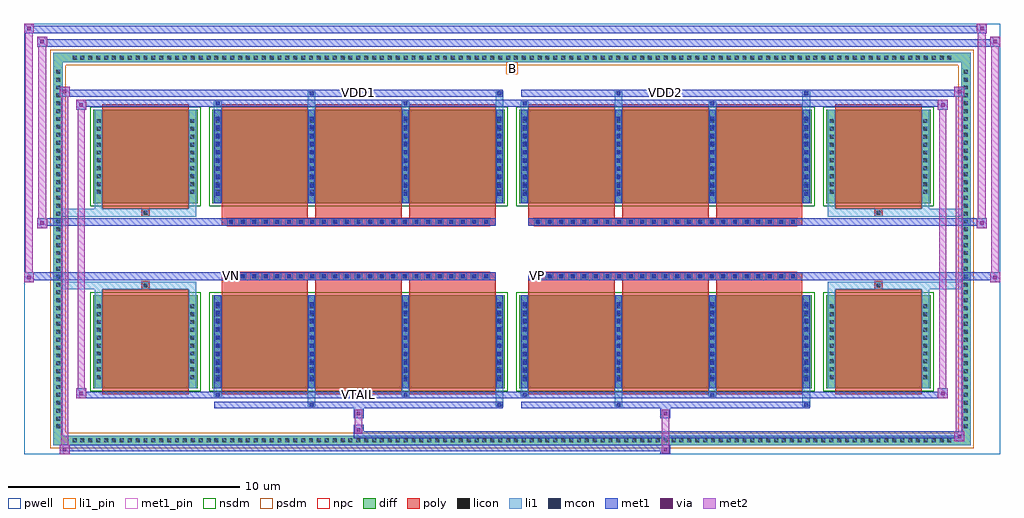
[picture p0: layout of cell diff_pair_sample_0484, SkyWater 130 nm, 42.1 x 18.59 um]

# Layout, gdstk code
import gdstk
lib = gdstk.Library(unit=1e-6, precision=5e-09)
def R(c, l, rs):  # rectangles x0, y0, x1, y1
    for r in rs: c.add(gdstk.rectangle(r[:2], r[2:], *l))
def A(c, l, x, y, w, h, nx, ny, dx, dy):  # array of equal rectangles
    R(c, l, [(x+i*dx, y+j*dy, x+i*dx+w, y+j*dy+h) for i in range(nx) for j in range(ny)])
def P(c, l, *ps):  # polygons
    for p in ps: c.add(gdstk.Polygon(p, *l))
pwell = (64, 44)
diff = (65, 20)
poly = (66, 20)
licon = (66, 44)
li1_pin = (67, 16)
li1 = (67, 20)
mcon = (67, 44)
met1_pin = (68, 16)
met1 = (68, 20)
via = (68, 44)
met2 = (69, 20)
nsdm = (93, 44)
psdm = (94, 20)
npc = (95, 20)

diff_pair_sample_0484 = lib.new_cell('diff_pair_sample_0484')
R(diff_pair_sample_0484, pwell, [(-21.05,-8.86,21.05,9.73), (-18.37,-7.05,-0.01,-0.805), (0.01,-7.05,18.37,-0.805), (-18.37,0.805,-0.01,7.05), (0.01,0.805,18.37,7.05)])
A(diff_pair_sample_0484, diff, -19.075, -8.46, 0.41, 0.41, 112, 2, 0.34, 16.51)
A(diff_pair_sample_0484, diff, -19.78, -7.855, 0.41, 0.41, 1, 46, 0, 0.34)
A(diff_pair_sample_0484, diff, 19.37, -7.855, 0.41, 0.41, 1, 46, 0, 0.34)
R(diff_pair_sample_0484, diff, [(-19.075,-8.46,19.075,-8.05), (-19.78,-7.855,-19.37,7.855), (19.37,-7.855,19.78,7.855), (-18.06,-6.005,-13.56,-1.985), (-12.92,-6.005,-0.32,-1.985), (0.32,-6.005,12.92,-1.985), (13.56,-6.005,18.06,-1.985), (-18.06,1.985,-13.56,6.005), (-12.92,1.985,-0.32,6.005), (0.32,1.985,12.92,6.005), (13.56,1.985,18.06,6.005), (-19.075,8.05,19.075,8.46)])
P(diff_pair_sample_0484, diff, [(19.78,8.46),(-19.78,8.46),(-19.78,-8.05),(-19.37,-8.05),(-19.37,8.05),(19.37,8.05),(19.37,-8.05),(-19.37,-8.05),(-19.78,-8.05),(-19.78,-8.46),(19.78,-8.46)])
A(diff_pair_sample_0484, poly, -12.53, -6.255, 3.72, 4.52, 3, 2, 4.05, 7.99)
A(diff_pair_sample_0484, poly, 0.71, -6.255, 3.72, 4.52, 3, 2, 4.05, 7.99)
A(diff_pair_sample_0484, poly, -12.53, -1.735, 3.72, 0.4, 3, 2, 4.05, 3.07)
A(diff_pair_sample_0484, poly, 0.71, -1.735, 3.72, 0.4, 3, 2, 4.05, 3.07)
A(diff_pair_sample_0484, poly, -12.285, -1.335, 0.33, 0.33, 23, 2, 0.5, 2.34)
A(diff_pair_sample_0484, poly, 0.955, -1.335, 0.33, 0.33, 23, 2, 0.5, 2.34)
R(diff_pair_sample_0484, poly, [(-17.67,-6.255,-13.95,-1.735), (13.95,-6.255,17.67,-1.735), (-15.975,-1.735,-15.645,-1.405), (-15.975,-1.735,-15.645,-1.405), (15.645,-1.735,15.975,-1.405), (15.645,-1.735,15.975,-1.405), (-12.53,-1.335,-0.71,-1.005), (0.71,-1.335,12.53,-1.005), (-12.53,1.005,-0.71,1.335), (0.71,1.005,12.53,1.335), (-15.975,1.405,-15.645,1.735), (-15.975,1.405,-15.645,1.735), (15.645,1.405,15.975,1.735), (15.645,1.405,15.975,1.735), (-17.67,1.735,-13.95,6.255), (13.95,1.735,17.67,6.255)])
A(diff_pair_sample_0484, licon, -18.955, -8.34, 0.17, 0.17, 112, 2, 0.34, 16.51)
A(diff_pair_sample_0484, licon, -19.66, -7.735, 0.17, 0.17, 1, 46, 0, 0.34)
A(diff_pair_sample_0484, licon, 19.49, -7.735, 0.17, 0.17, 1, 46, 0, 0.34)
A(diff_pair_sample_0484, licon, -17.92, -5.61, 0.17, 0.17, 1, 10, 0, 0.34)
A(diff_pair_sample_0484, licon, -13.87, -5.61, 0.17, 0.17, 1, 10, 0, 0.34)
A(diff_pair_sample_0484, licon, -12.78, -5.61, 0.17, 0.17, 4, 10, 4.05, 0.34)
A(diff_pair_sample_0484, licon, 0.46, -5.61, 0.17, 0.17, 4, 10, 4.05, 0.34)
A(diff_pair_sample_0484, licon, 13.7, -5.61, 0.17, 0.17, 1, 10, 0, 0.34)
A(diff_pair_sample_0484, licon, 17.75, -5.61, 0.17, 0.17, 1, 10, 0, 0.34)
A(diff_pair_sample_0484, licon, -12.205, -1.255, 0.17, 0.17, 23, 2, 0.5, 2.34)
A(diff_pair_sample_0484, licon, 1.035, -1.255, 0.17, 0.17, 23, 2, 0.5, 2.34)
A(diff_pair_sample_0484, licon, -17.92, 2.38, 0.17, 0.17, 1, 10, 0, 0.34)
A(diff_pair_sample_0484, licon, -13.87, 2.38, 0.17, 0.17, 1, 10, 0, 0.34)
A(diff_pair_sample_0484, licon, -12.78, 2.38, 0.17, 0.17, 4, 10, 4.05, 0.34)
A(diff_pair_sample_0484, licon, 0.46, 2.38, 0.17, 0.17, 4, 10, 4.05, 0.34)
A(diff_pair_sample_0484, licon, 13.7, 2.38, 0.17, 0.17, 1, 10, 0, 0.34)
A(diff_pair_sample_0484, licon, 17.75, 2.38, 0.17, 0.17, 1, 10, 0, 0.34)
R(diff_pair_sample_0484, licon, [(-15.895,-1.655,-15.725,-1.485), (15.725,-1.655,15.895,-1.485), (-15.895,1.485,-15.725,1.655), (15.725,1.485,15.895,1.655)])
R(diff_pair_sample_0484, li1_pin, [(-0.25,7.55,0.25,8.05)])
A(diff_pair_sample_0484, li1, -19.035, -8.42, 0.33, 0.33, 112, 2, 0.34, 16.51)
A(diff_pair_sample_0484, li1, -19.74, -7.815, 0.33, 0.33, 1, 46, 0, 0.34)
A(diff_pair_sample_0484, li1, 19.41, -7.815, 0.33, 0.33, 1, 46, 0, 0.34)
A(diff_pair_sample_0484, li1, -12.86, -6.005, 0.33, 4.02, 4, 2, 4.05, 7.99)
A(diff_pair_sample_0484, li1, 0.38, -6.005, 0.33, 4.02, 4, 2, 4.05, 7.99)
A(diff_pair_sample_0484, li1, -12.78, -5.7, 0.17, 0.17, 4, 10, 4.05, 0.36)
A(diff_pair_sample_0484, li1, -12.78, -5.7, 0.17, 3.41, 4, 2, 4.05, 7.99)
A(diff_pair_sample_0484, li1, 0.46, -5.7, 0.17, 0.17, 4, 10, 4.05, 0.36)
A(diff_pair_sample_0484, li1, 0.46, -5.7, 0.17, 3.41, 4, 2, 4.05, 7.99)
A(diff_pair_sample_0484, li1, -18, -5.69, 0.33, 0.33, 1, 10, 0, 0.34)
A(diff_pair_sample_0484, li1, -13.95, -5.69, 0.33, 0.33, 1, 10, 0, 0.34)
A(diff_pair_sample_0484, li1, -12.86, -5.69, 0.33, 0.33, 4, 10, 4.05, 0.34)
A(diff_pair_sample_0484, li1, 0.38, -5.69, 0.33, 0.33, 4, 10, 4.05, 0.34)
A(diff_pair_sample_0484, li1, 13.62, -5.69, 0.33, 0.33, 1, 10, 0, 0.34)
A(diff_pair_sample_0484, li1, 17.67, -5.69, 0.33, 0.33, 1, 10, 0, 0.34)
A(diff_pair_sample_0484, li1, -12.285, -1.335, 0.33, 0.33, 23, 2, 0.5, 2.34)
A(diff_pair_sample_0484, li1, 0.955, -1.335, 0.33, 0.33, 23, 2, 0.5, 2.34)
A(diff_pair_sample_0484, li1, -12.78, 2.29, 0.17, 0.17, 4, 10, 4.05, 0.36)
A(diff_pair_sample_0484, li1, 0.46, 2.29, 0.17, 0.17, 4, 10, 4.05, 0.36)
A(diff_pair_sample_0484, li1, -18, 2.3, 0.33, 0.33, 1, 10, 0, 0.34)
A(diff_pair_sample_0484, li1, -13.95, 2.3, 0.33, 0.33, 1, 10, 0, 0.34)
A(diff_pair_sample_0484, li1, -12.86, 2.3, 0.33, 0.33, 4, 10, 4.05, 0.34)
A(diff_pair_sample_0484, li1, 0.38, 2.3, 0.33, 0.33, 4, 10, 4.05, 0.34)
A(diff_pair_sample_0484, li1, 13.62, 2.3, 0.33, 0.33, 1, 10, 0, 0.34)
A(diff_pair_sample_0484, li1, 17.67, 2.3, 0.33, 0.33, 1, 10, 0, 0.34)
R(diff_pair_sample_0484, li1, [(-19.78,-8.46,-19.37,-8.05), (-19.78,-8.46,-19.37,-8.05), (-19.37,-8.46,19.37,-8.05), (19.37,-8.46,19.78,-8.05), (19.37,-8.46,19.78,-8.05), (-19.78,-8.05,-19.37,8.05), (19.37,-8.05,19.78,8.05), (-8.81,-6.81,-8.48,-6.005), (-8.73,-6.81,-8.56,-6.64), (-0.71,-6.81,-0.38,-6.005), (-0.63,-6.81,-0.46,-6.64), (4.43,-6.81,4.76,-6.005), (4.51,-6.81,4.68,-6.64), (12.53,-6.81,12.86,-6.005), (12.61,-6.81,12.78,-6.64), (-12.86,-6.38,-12.53,-6.005), (-12.78,-6.38,-12.61,-6.21), (-4.76,-6.38,-4.43,-6.005), (-4.68,-6.38,-4.51,-6.21), (0.38,-6.38,0.71,-6.005), (0.46,-6.38,0.63,-6.21), (8.48,-6.38,8.81,-6.005), (8.56,-6.38,8.73,-6.21), (-18,-6.005,-17.67,-1.985), (-13.95,-6.005,-13.62,-1.985), (13.62,-6.005,13.95,-1.985), (17.67,-6.005,18,-1.985), (-18,-1.985,-17.67,-1.405), (-13.95,-1.985,-13.62,-1.405), (13.62,-1.985,13.95,-1.405), (17.67,-1.985,18,-1.405), (-19.78,-1.735,-15.975,-1.405), (-18,-1.735,-15.975,-1.405), (-15.975,-1.735,-15.645,-1.405), (-15.645,-1.735,-13.62,-1.405), (13.62,-1.735,15.645,-1.405), (15.645,-1.735,15.975,-1.405), (15.645,-1.735,19.78,-1.405), (15.975,-1.735,18,-1.405), (-19.78,1.405,-15.975,1.735), (-18,1.405,-15.975,1.735), (-18,1.405,-17.67,1.985), (-15.975,1.405,-15.645,1.735), (-15.645,1.405,-13.62,1.735), (-13.95,1.405,-13.62,1.985), (13.62,1.405,15.645,1.735), (13.62,1.405,13.95,1.985), (15.645,1.405,15.975,1.735), (15.645,1.405,19.78,1.735), (15.975,1.405,18,1.735), (17.67,1.405,18,1.985), (-18,1.985,-17.67,6.005), (-13.95,1.985,-13.62,6.005), (13.62,1.985,13.95,6.005), (17.67,1.985,18,6.005), (-12.86,6.005,-12.53,6.38), (-8.81,6.005,-8.48,6.81), (-4.76,6.005,-4.43,6.38), (-0.71,6.005,-0.38,6.81), (0.38,6.005,0.71,6.38), (4.43,6.005,4.76,6.81), (8.48,6.005,8.81,6.38), (12.53,6.005,12.86,6.81), (-12.78,6.21,-12.61,6.38), (-4.68,6.21,-4.51,6.38), (0.46,6.21,0.63,6.38), (8.56,6.21,8.73,6.38), (-8.73,6.64,-8.56,6.81), (-0.63,6.64,-0.46,6.81), (4.51,6.64,4.68,6.81), (12.61,6.64,12.78,6.81), (-19.78,8.05,-19.37,8.46), (-19.78,8.05,-19.37,8.46), (-19.37,8.05,19.37,8.46), (19.37,8.05,19.78,8.46), (19.37,8.05,19.78,8.46)])
A(diff_pair_sample_0484, mcon, -12.78, -5.7, 0.17, 0.17, 4, 10, 4.05, 0.36)
A(diff_pair_sample_0484, mcon, 0.46, -5.7, 0.17, 0.17, 4, 10, 4.05, 0.36)
A(diff_pair_sample_0484, mcon, -12.205, -1.255, 0.17, 0.17, 23, 2, 0.5, 2.34)
A(diff_pair_sample_0484, mcon, 1.035, -1.255, 0.17, 0.17, 23, 2, 0.5, 2.34)
A(diff_pair_sample_0484, mcon, -12.78, 2.29, 0.17, 0.17, 4, 10, 4.05, 0.36)
A(diff_pair_sample_0484, mcon, 0.46, 2.29, 0.17, 0.17, 4, 10, 4.05, 0.36)
R(diff_pair_sample_0484, mcon, [(-8.73,-6.81,-8.56,-6.64), (-0.63,-6.81,-0.46,-6.64), (4.51,-6.81,4.68,-6.64), (12.61,-6.81,12.78,-6.64), (-12.78,-6.38,-12.61,-6.21), (-4.68,-6.38,-4.51,-6.21), (0.46,-6.38,0.63,-6.21), (8.56,-6.38,8.73,-6.21), (-12.78,6.21,-12.61,6.38), (-4.68,6.21,-4.51,6.38), (0.46,6.21,0.63,6.38), (8.56,6.21,8.73,6.38), (-8.73,6.64,-8.56,6.81), (-0.63,6.64,-0.46,6.81), (4.51,6.64,4.68,6.81), (12.61,6.64,12.78,6.81)])
R(diff_pair_sample_0484, met1_pin, [(-6.755,-6.42,-6.485,-6.15), (-12.255,-1.295,-11.985,-1.025), (0.985,-1.295,1.255,-1.025), (-6.755,6.6,-6.485,6.87), (6.485,6.6,6.755,6.87)])
A(diff_pair_sample_0484, met1, -12.84, -6.005, 0.29, 4.02, 4, 2, 4.05, 7.99)
A(diff_pair_sample_0484, met1, 0.4, -6.005, 0.29, 4.02, 4, 2, 4.05, 7.99)
A(diff_pair_sample_0484, met1, -12.84, -5.76, 0.29, 0.29, 4, 10, 4.05, 0.36)
A(diff_pair_sample_0484, met1, 0.4, -5.76, 0.29, 0.29, 4, 10, 4.05, 0.36)
A(diff_pair_sample_0484, met1, -12.265, -1.315, 0.29, 0.29, 23, 2, 0.5, 2.34)
A(diff_pair_sample_0484, met1, 0.975, -1.315, 0.29, 0.29, 23, 2, 0.5, 2.34)
A(diff_pair_sample_0484, met1, -12.84, 2.23, 0.29, 0.29, 4, 10, 4.05, 0.36)
A(diff_pair_sample_0484, met1, 0.4, 2.23, 0.29, 0.29, 4, 10, 4.05, 0.36)
R(diff_pair_sample_0484, met1, [(-19.51,-8.86,-19.08,-8.43), (6.405,-8.86,6.835,-8.43), (-19.51,-8.72,6.835,-8.43), (19.08,-8.29,19.51,-7.86), (-6.835,-8.15,19.51,-7.86), (-6.835,-8.01,-6.405,-7.58), (-6.835,-7.3,-6.405,-6.87), (6.405,-7.3,6.835,-6.87), (-12.84,-6.87,-0.4,-6.58), (-8.79,-6.87,-8.5,-6.58), (-0.69,-6.87,-0.4,-6.58), (0.4,-6.87,12.84,-6.58), (4.45,-6.87,4.74,-6.58), (12.55,-6.87,12.84,-6.58), (-18.8,-6.44,-18.37,-6.01), (-18.8,-6.44,-12.84,-6.15), (-12.84,-6.44,-12.55,-6.15), (-12.84,-6.44,-0.4,-6.15), (-4.74,-6.44,-4.45,-6.15), (-0.4,-6.44,0.4,-6.15), (0.4,-6.44,0.69,-6.15), (0.4,-6.44,12.84,-6.15), (8.5,-6.44,8.79,-6.15), (12.84,-6.44,18.8,-6.15), (18.37,-6.44,18.8,-6.01), (-21.05,-1.435,-20.62,-1.005), (20.62,-1.435,21.05,-1.005), (-21.05,-1.335,-0.71,-1.005), (-12.53,-1.335,-0.71,-1.005), (0.71,-1.335,12.53,-1.005), (0.71,-1.335,21.05,-1.005), (-20.48,0.905,-20.05,1.335), (20.05,0.905,20.48,1.335), (-20.48,1.005,-12.53,1.335), (-12.53,1.005,-0.71,1.335), (0.71,1.005,12.53,1.335), (12.53,1.005,20.48,1.335), (-18.8,6.01,-18.37,6.44), (18.37,6.01,18.8,6.44), (-18.8,6.15,-12.84,6.44), (-12.84,6.15,-12.55,6.44), (-12.84,6.15,-0.4,6.44), (-4.74,6.15,-4.45,6.44), (-0.4,6.15,0.4,6.44), (0.4,6.15,0.69,6.44), (0.4,6.15,12.84,6.44), (8.5,6.15,8.79,6.44), (12.84,6.15,18.8,6.44), (-19.51,6.58,-19.08,7.01), (-19.51,6.58,-12.84,6.87), (-12.84,6.58,-0.4,6.87), (-8.79,6.58,-8.5,6.87), (-0.69,6.58,-0.4,6.87), (0.4,6.58,12.84,6.87), (4.45,6.58,4.74,6.87), (12.55,6.58,12.84,6.87), (12.84,6.58,19.51,6.87), (19.08,6.58,19.51,7.01), (-20.48,8.73,-20.05,9.16), (-20.48,8.73,-18.37,9.06), (-18.37,8.73,18.37,9.06), (18.37,8.73,21.05,9.06), (20.62,8.73,21.05,9.16), (-21.05,9.3,-20.62,9.73), (-21.05,9.3,-18.37,9.63), (-18.37,9.3,18.37,9.63), (18.37,9.3,20.48,9.63), (20.05,9.3,20.48,9.73)])
R(diff_pair_sample_0484, via, [(-19.37,-8.72,-19.22,-8.57), (6.545,-8.72,6.695,-8.57), (19.22,-8.15,19.37,-8), (-6.695,-7.87,-6.545,-7.72), (-6.695,-7.16,-6.545,-7.01), (6.545,-7.16,6.695,-7.01), (-18.66,-6.3,-18.51,-6.15), (18.51,-6.3,18.66,-6.15), (-20.91,-1.295,-20.76,-1.145), (20.76,-1.295,20.91,-1.145), (-20.34,1.045,-20.19,1.195), (20.19,1.045,20.34,1.195), (-18.66,6.15,-18.51,6.3), (18.51,6.15,18.66,6.3), (-19.37,6.72,-19.22,6.87), (19.22,6.72,19.37,6.87), (-20.34,8.87,-20.19,9.02), (20.76,8.87,20.91,9.02), (-20.91,9.44,-20.76,9.59), (20.19,9.44,20.34,9.59)])
R(diff_pair_sample_0484, met2, [(-19.51,-8.86,-19.08,-8.43), (-19.44,-8.86,-19.15,7.01), (-19.15,-8.86,-19.08,-8.43), (-19.46,-8.81,-19.13,-8.48), (6.455,-8.81,6.785,-8.48), (6.455,-8.48,6.785,-7.25), (19.08,-8.29,19.51,-7.86), (19.15,-8.29,19.44,7.01), (19.44,-8.29,19.51,-7.86), (19.13,-8.24,19.46,-7.91), (-6.785,-7.96,-6.455,-7.63), (-6.785,-7.63,-6.455,-7.25), (-6.785,-7.25,-6.455,-6.92), (6.455,-7.25,6.785,-6.92), (-18.8,-6.44,-18.37,-6.01), (-18.73,-6.44,-18.44,6.44), (-18.44,-6.44,-18.37,-6.01), (18.37,-6.44,18.8,-6.01), (18.44,-6.44,18.73,6.44), (18.73,-6.44,18.8,-6.01), (-18.75,-6.39,-18.42,-6.06), (18.42,-6.39,18.75,-6.06), (-21.05,-1.435,-20.62,-1.005), (-21,-1.435,-20.67,9.73), (-20.67,-1.435,-20.62,-1.005), (20.62,-1.435,21.05,-1.005), (20.67,-1.435,21,9.16), (21,-1.435,21.05,-1.005), (-21,-1.385,-20.67,-1.055), (20.67,-1.385,21,-1.055), (-20.48,0.905,-20.05,1.335), (-20.43,0.905,-20.1,9.16), (-20.1,0.905,-20.05,1.335), (20.05,0.905,20.48,1.335), (20.1,0.905,20.43,9.73), (20.43,0.905,20.48,1.335), (-20.43,0.955,-20.1,1.285), (20.1,0.955,20.43,1.285), (-18.8,6.01,-18.37,6.44), (-18.44,6.01,-18.37,6.44), (18.37,6.01,18.8,6.44), (18.73,6.01,18.8,6.44), (-18.75,6.06,-18.42,6.39), (18.42,6.06,18.75,6.39), (-19.51,6.58,-19.08,7.01), (-19.15,6.58,-19.08,7.01), (19.08,6.58,19.51,7.01), (19.44,6.58,19.51,7.01), (-19.46,6.63,-19.13,6.96), (19.13,6.63,19.46,6.96), (-20.48,8.73,-20.05,9.16), (-20.1,8.73,-20.05,9.16), (20.62,8.73,21.05,9.16), (21,8.73,21.05,9.16), (-20.43,8.78,-20.1,9.11), (20.67,8.78,21,9.11), (-21.05,9.3,-20.62,9.73), (-20.67,9.3,-20.62,9.73), (20.05,9.3,20.48,9.73), (20.43,9.3,20.48,9.73), (-21,9.35,-20.67,9.68), (20.1,9.35,20.43,9.68)])
R(diff_pair_sample_0484, nsdm, [(-18.19,-6.135,-13.43,-1.855), (-13.05,-6.135,-0.19,-1.855), (0.19,-6.135,13.05,-1.855), (13.43,-6.135,18.19,-1.855), (-18.19,1.855,-13.43,6.135), (-13.05,1.855,-0.19,6.135), (0.19,1.855,13.05,6.135), (13.43,1.855,18.19,6.135)])
P(diff_pair_sample_0484, psdm, [(19.91,8.59),(-19.91,8.59),(-19.91,-7.92),(-19.24,-7.92),(-19.24,7.92),(19.24,7.92),(19.24,-7.92),(-19.24,-7.92),(-19.91,-7.92),(-19.91,-8.59),(19.91,-8.59)])
A(diff_pair_sample_0484, npc, -12.305, -1.355, 0.37, 0.37, 23, 2, 0.5, 2.34)
A(diff_pair_sample_0484, npc, 0.935, -1.355, 0.37, 0.37, 23, 2, 0.5, 2.34)
R(diff_pair_sample_0484, npc, [(-15.995,-1.755,-15.625,-1.385), (15.625,-1.755,15.995,-1.385), (-12.305,-1.355,-11.435,-0.985), (-12.305,-1.355,-11.435,-0.985), (-11.805,-1.355,-10.935,-0.985), (-11.805,-1.355,-10.935,-0.985), (-11.305,-1.355,-10.435,-0.985), (-11.305,-1.355,-10.435,-0.985), (-10.805,-1.355,-9.935,-0.985), (-10.805,-1.355,-9.935,-0.985), (-10.305,-1.355,-9.435,-0.985), (-10.305,-1.355,-9.435,-0.985), (-9.805,-1.355,-8.935,-0.985), (-9.805,-1.355,-8.935,-0.985), (-9.305,-1.355,-8.435,-0.985), (-9.305,-1.355,-8.435,-0.985), (-8.805,-1.355,-7.935,-0.985), (-8.805,-1.355,-7.935,-0.985), (-8.305,-1.355,-7.435,-0.985), (-8.305,-1.355,-7.435,-0.985), (-7.805,-1.355,-6.935,-0.985), (-7.805,-1.355,-6.935,-0.985), (-7.305,-1.355,-6.435,-0.985), (-7.305,-1.355,-6.435,-0.985), (-6.805,-1.355,-5.935,-0.985), (-6.805,-1.355,-5.935,-0.985), (-6.305,-1.355,-5.435,-0.985), (-6.305,-1.355,-5.435,-0.985), (-5.805,-1.355,-4.935,-0.985), (-5.805,-1.355,-4.935,-0.985), (-5.305,-1.355,-4.435,-0.985), (-5.305,-1.355,-4.435,-0.985), (-4.805,-1.355,-3.935,-0.985), (-4.805,-1.355,-3.935,-0.985), (-4.305,-1.355,-3.435,-0.985), (-4.305,-1.355,-3.435,-0.985), (-3.805,-1.355,-2.935,-0.985), (-3.805,-1.355,-2.935,-0.985), (-3.305,-1.355,-2.435,-0.985), (-3.305,-1.355,-2.435,-0.985), (-2.805,-1.355,-1.935,-0.985), (-2.805,-1.355,-1.935,-0.985), (-2.305,-1.355,-1.435,-0.985), (-2.305,-1.355,-1.435,-0.985), (-1.805,-1.355,-0.935,-0.985), (-1.805,-1.355,-0.935,-0.985), (0.935,-1.355,1.805,-0.985), (0.935,-1.355,1.805,-0.985), (1.435,-1.355,2.305,-0.985), (1.435,-1.355,2.305,-0.985), (1.935,-1.355,2.805,-0.985), (1.935,-1.355,2.805,-0.985), (2.435,-1.355,3.305,-0.985), (2.435,-1.355,3.305,-0.985), (2.935,-1.355,3.805,-0.985), (2.935,-1.355,3.805,-0.985), (3.435,-1.355,4.305,-0.985), (3.435,-1.355,4.305,-0.985), (3.935,-1.355,4.805,-0.985), (3.935,-1.355,4.805,-0.985), (4.435,-1.355,5.305,-0.985), (4.435,-1.355,5.305,-0.985), (4.935,-1.355,5.805,-0.985), (4.935,-1.355,5.805,-0.985), (5.435,-1.355,6.305,-0.985), (5.435,-1.355,6.305,-0.985), (5.935,-1.355,6.805,-0.985), (5.935,-1.355,6.805,-0.985), (6.435,-1.355,7.305,-0.985), (6.435,-1.355,7.305,-0.985), (6.935,-1.355,7.805,-0.985), (6.935,-1.355,7.805,-0.985), (7.435,-1.355,8.305,-0.985), (7.435,-1.355,8.305,-0.985), (7.935,-1.355,8.805,-0.985), (7.935,-1.355,8.805,-0.985), (8.435,-1.355,9.305,-0.985), (8.435,-1.355,9.305,-0.985), (8.935,-1.355,9.805,-0.985), (8.935,-1.355,9.805,-0.985), (9.435,-1.355,10.305,-0.985), (9.435,-1.355,10.305,-0.985), (9.935,-1.355,10.805,-0.985), (9.935,-1.355,10.805,-0.985), (10.435,-1.355,11.305,-0.985), (10.435,-1.355,11.305,-0.985), (10.935,-1.355,11.805,-0.985), (10.935,-1.355,11.805,-0.985), (11.435,-1.355,12.305,-0.985), (11.435,-1.355,12.305,-0.985), (-12.305,0.985,-11.435,1.355), (-12.305,0.985,-11.435,1.355), (-11.805,0.985,-10.935,1.355), (-11.805,0.985,-10.935,1.355), (-11.305,0.985,-10.435,1.355), (-11.305,0.985,-10.435,1.355), (-10.805,0.985,-9.935,1.355), (-10.805,0.985,-9.935,1.355), (-10.305,0.985,-9.435,1.355), (-10.305,0.985,-9.435,1.355), (-9.805,0.985,-8.935,1.355), (-9.805,0.985,-8.935,1.355), (-9.305,0.985,-8.435,1.355), (-9.305,0.985,-8.435,1.355), (-8.805,0.985,-7.935,1.355), (-8.805,0.985,-7.935,1.355), (-8.305,0.985,-7.435,1.355), (-8.305,0.985,-7.435,1.355), (-7.805,0.985,-6.935,1.355), (-7.805,0.985,-6.935,1.355), (-7.305,0.985,-6.435,1.355), (-7.305,0.985,-6.435,1.355), (-6.805,0.985,-5.935,1.355), (-6.805,0.985,-5.935,1.355), (-6.305,0.985,-5.435,1.355), (-6.305,0.985,-5.435,1.355), (-5.805,0.985,-4.935,1.355), (-5.805,0.985,-4.935,1.355), (-5.305,0.985,-4.435,1.355), (-5.305,0.985,-4.435,1.355), (-4.805,0.985,-3.935,1.355), (-4.805,0.985,-3.935,1.355), (-4.305,0.985,-3.435,1.355), (-4.305,0.985,-3.435,1.355), (-3.805,0.985,-2.935,1.355), (-3.805,0.985,-2.935,1.355), (-3.305,0.985,-2.435,1.355), (-3.305,0.985,-2.435,1.355), (-2.805,0.985,-1.935,1.355), (-2.805,0.985,-1.935,1.355), (-2.305,0.985,-1.435,1.355), (-2.305,0.985,-1.435,1.355), (-1.805,0.985,-0.935,1.355), (-1.805,0.985,-0.935,1.355), (0.935,0.985,1.805,1.355), (0.935,0.985,1.805,1.355), (1.435,0.985,2.305,1.355), (1.435,0.985,2.305,1.355), (1.935,0.985,2.805,1.355), (1.935,0.985,2.805,1.355), (2.435,0.985,3.305,1.355), (2.435,0.985,3.305,1.355), (2.935,0.985,3.805,1.355), (2.935,0.985,3.805,1.355), (3.435,0.985,4.305,1.355), (3.435,0.985,4.305,1.355), (3.935,0.985,4.805,1.355), (3.935,0.985,4.805,1.355), (4.435,0.985,5.305,1.355), (4.435,0.985,5.305,1.355), (4.935,0.985,5.805,1.355), (4.935,0.985,5.805,1.355), (5.435,0.985,6.305,1.355), (5.435,0.985,6.305,1.355), (5.935,0.985,6.805,1.355), (5.935,0.985,6.805,1.355), (6.435,0.985,7.305,1.355), (6.435,0.985,7.305,1.355), (6.935,0.985,7.805,1.355), (6.935,0.985,7.805,1.355), (7.435,0.985,8.305,1.355), (7.435,0.985,8.305,1.355), (7.935,0.985,8.805,1.355), (7.935,0.985,8.805,1.355), (8.435,0.985,9.305,1.355), (8.435,0.985,9.305,1.355), (8.935,0.985,9.805,1.355), (8.935,0.985,9.805,1.355), (9.435,0.985,10.305,1.355), (9.435,0.985,10.305,1.355), (9.935,0.985,10.805,1.355), (9.935,0.985,10.805,1.355), (10.435,0.985,11.305,1.355), (10.435,0.985,11.305,1.355), (10.935,0.985,11.805,1.355), (10.935,0.985,11.805,1.355), (11.435,0.985,12.305,1.355), (11.435,0.985,12.305,1.355), (-15.995,1.385,-15.625,1.755), (15.625,1.385,15.995,1.755)])
diff_pair_sample_0484.add(gdstk.Label('VTAIL', (-6.62,-6.285), layer=68, texttype=5))
diff_pair_sample_0484.add(gdstk.Label('VN', (-12.12,-1.16), layer=68, texttype=5))
diff_pair_sample_0484.add(gdstk.Label('VP', (1.12,-1.16), layer=68, texttype=5))
diff_pair_sample_0484.add(gdstk.Label('B', (0,7.8), layer=67, texttype=5))
diff_pair_sample_0484.add(gdstk.Label('VDD2', (6.62,6.735), layer=68, texttype=5))
diff_pair_sample_0484.add(gdstk.Label('VDD1', (-6.62,6.735), layer=68, texttype=5))

lib.write_gds('diff_pair_sample_0484.gds')
